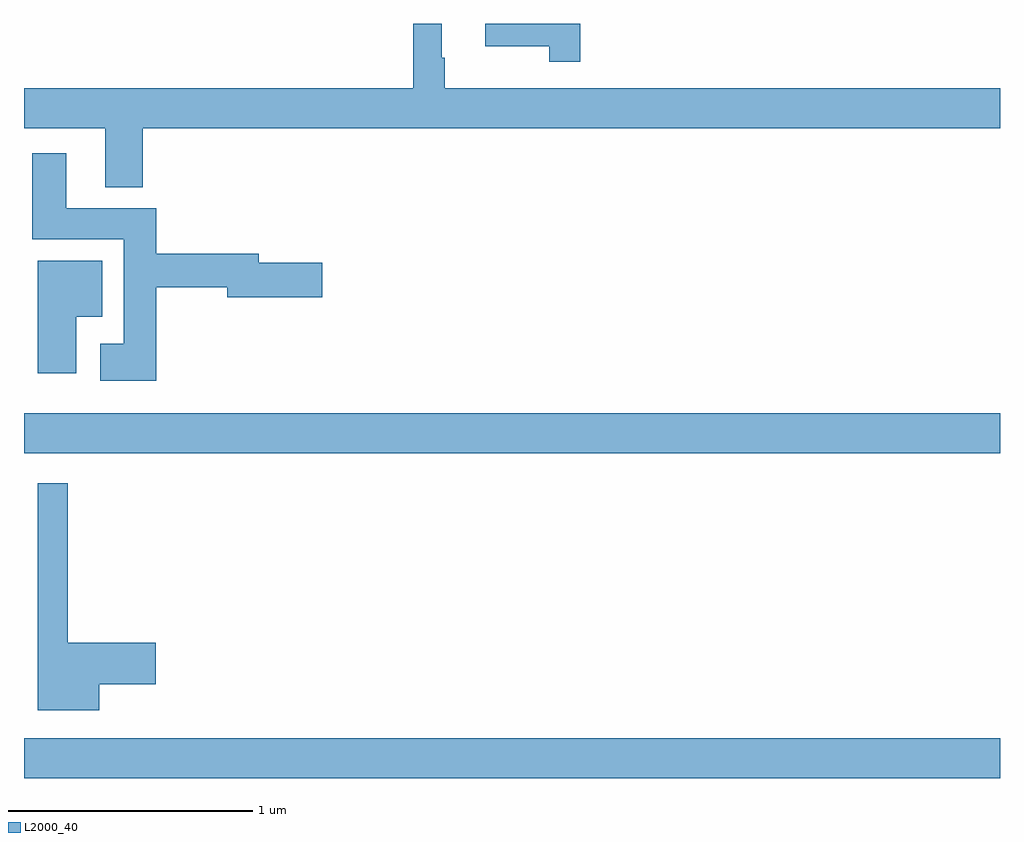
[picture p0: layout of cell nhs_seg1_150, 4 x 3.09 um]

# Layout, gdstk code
import gdstk
lib = gdstk.Library(unit=1e-6, precision=1e-09)
def R(c, l, rs):  # rectangles x0, y0, x1, y1
    for r in rs: c.add(gdstk.rectangle(r[:2], r[2:], *l))
def P(c, l, *ps):  # polygons
    for p in ps: c.add(gdstk.Polygon(p, *l))
L2000_40 = (2000, 40)

nhs_seg1_150 = lib.new_cell('nhs_seg1_150')
R(nhs_seg1_150, L2000_40, [(119,509.108,123,509.272), (119,510.44,123,510.604)])
P(nhs_seg1_150, L2000_40, [(119.486,511.772),(123,511.772),(123,511.936),(120.724,511.936),(120.724,512.06),(120.712,512.06),(120.712,512.199),(120.595,512.199),(120.595,511.936),(119,511.936),(119,511.772),(119.333,511.772),(119.333,511.529),(119.486,511.529)],
  [(121.28,512.199),(120.89,512.199),(120.89,512.108),(121.152,512.108),(121.152,512.043),(121.28,512.043)],
  [(119.543,511.12),(119.834,511.12),(119.834,511.078),(120.223,511.078),(120.223,511.22),(119.962,511.22),(119.962,511.256),(119.543,511.256),(119.543,511.444),(119.173,511.444),(119.173,511.669),(119.033,511.669),(119.033,511.316),(119.408,511.316),(119.408,510.889),(119.313,510.889),(119.313,510.737),(119.543,510.737)],
  [(119.215,510.998),(119.32,510.998),(119.32,511.228),(119.057,511.228),(119.057,510.768),(119.215,510.768)],
  [(119.308,509.492),(119.539,509.492),(119.539,509.663),(119.179,509.663),(119.179,510.316),(119.057,510.316),(119.057,509.387),(119.308,509.387)])

lib.write_gds('nhs_seg1_150.gds')
